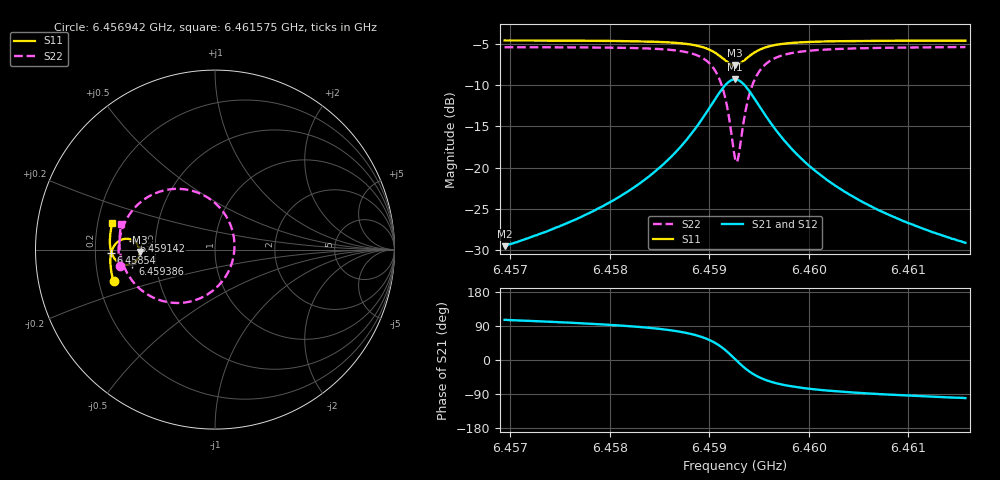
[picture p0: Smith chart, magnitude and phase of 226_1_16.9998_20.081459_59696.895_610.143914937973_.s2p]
#  HZ  S  RI  R  50.00
! Rohde & Schwarz Vector Network Analyzer
! Rohde-Schwarz,ZNB20-2Port,1311601062101988,3.16
! Created: UTC 3/20/2024, 11:02:10 PM
! freq[Hz]  re:S11  im:S11  re:S21  im:S21  re:S12  im:S12  re:S22  im:S22
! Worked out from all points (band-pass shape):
!   401 points, 6.456942 GHz to 6.461575 GHz, reference 50 ohm
!   highest |S21| = -9.28 dB at 6.459258 GHz (marker M1); lowest = -29.5 dB at 6.456942 GHz (marker M2)
!   |S21| within 3 dB of the highest: 6.459026 GHz to 6.45949 GHz (463.6 kHz wide, 0.00718 % of centre)
!   lowest |S11| = -7.6 dB at 6.459258 GHz (marker M3), VSWR 2.44, Z = 20.5 - j0.623 ohm
!   |S11| at or under -10 dB: nowhere
!   |S22| runs from -19.3 to -5.4 dB; largest |S21 - S12| = 0.013
!   S11 on the Smith chart (normalised r, x): 6.456942 GHz: 0.26, -0.14; 6.45854 GHz: 0.27, -0.01; 6.459142 GHz: 0.37, +0.05; 6.459386 GHz: 0.37, -0.07; 6.461575 GHz: 0.26, +0.12
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6.4569416e9  -0.5654 -0.176  -0.00911 0.0321  -0.00736 0.0322  -0.5307 -0.0916
6.4577177e9  -0.58 -0.1084  -0.00591 0.0501  -0.0035 0.0496  -0.5372 -0.00109
6.4581463e9  -0.5832 -0.0655  -0.000147 0.0695  0.00312 0.0682  -0.5298 0.0664
6.4584938e9  -0.5796 -0.0241  0.0134 0.0984  0.0173 0.0956  -0.5052 0.1444
6.4585401e9  -0.5782 -0.0177  0.0166 0.1038  0.0209 0.1008  -0.4989 0.1577
6.4587487e9  -0.5661 0.0141  0.0427 0.1355  0.0469 0.1308  -0.4507 0.2294
6.4588992e9  -0.545 0.0404  0.0851 0.1659  0.0885 0.1595  -0.3725 0.294
6.4590498e9  -0.4989 0.0602  0.1766 0.1852  0.1777 0.1778  -0.2051 0.3385
6.4591425e9  -0.4545 0.0501  0.2663 0.1543  0.2667 0.1484  -0.039 0.289
6.4591888e9  -0.4335 0.0312  0.3099 0.1118  0.3112 0.1066  0.0435 0.2133
6.4592583e9  -0.4188 -0.0125  0.3432 0.0153  0.3469 0.00847  0.1084 0.0347
6.4592699e9  -0.4192 -0.0206  0.343 -0.00232  0.3468 -0.00988  0.1082 0.00135
6.4592931e9  -0.4227 -0.036  0.3375 -0.0367  0.3414 -0.0458  0.0973 -0.064
6.4593394e9  -0.4382 -0.0619  0.3094 -0.0963  0.3114 -0.1081  0.0404 -0.1765
6.4593857e9  -0.4601 -0.0781  0.2678 -0.1371  0.2669 -0.1501  -0.0436 -0.251
6.4594784e9  -0.5032 -0.0848  0.1837 -0.1684  0.1778 -0.1797  -0.2108 -0.2974
6.459629e9  -0.5468 -0.0645  0.0965 -0.155  0.0881 -0.1612  -0.3773 -0.2493
6.4597912e9  -0.5683 -0.0369  0.0518 -0.1274  0.0442 -0.1304  -0.4577 -0.1781
6.4600344e9  -0.581 -0.00142  0.0227 -0.0965  0.0169 -0.0971  -0.5058 -0.0961
6.4603935e9  -0.5856 0.0409  0.00638 -0.0692  0.00226 -0.0688  -0.5281 -0.0153
6.4608105e9  -0.5838 0.0826  -0.00112 -0.0515  -0.00404 -0.0508  -0.5324 0.0506
6.461575e9  -0.5716 0.1504  -0.00639 -0.0344  -0.00799 -0.0334  -0.5213 0.1409
